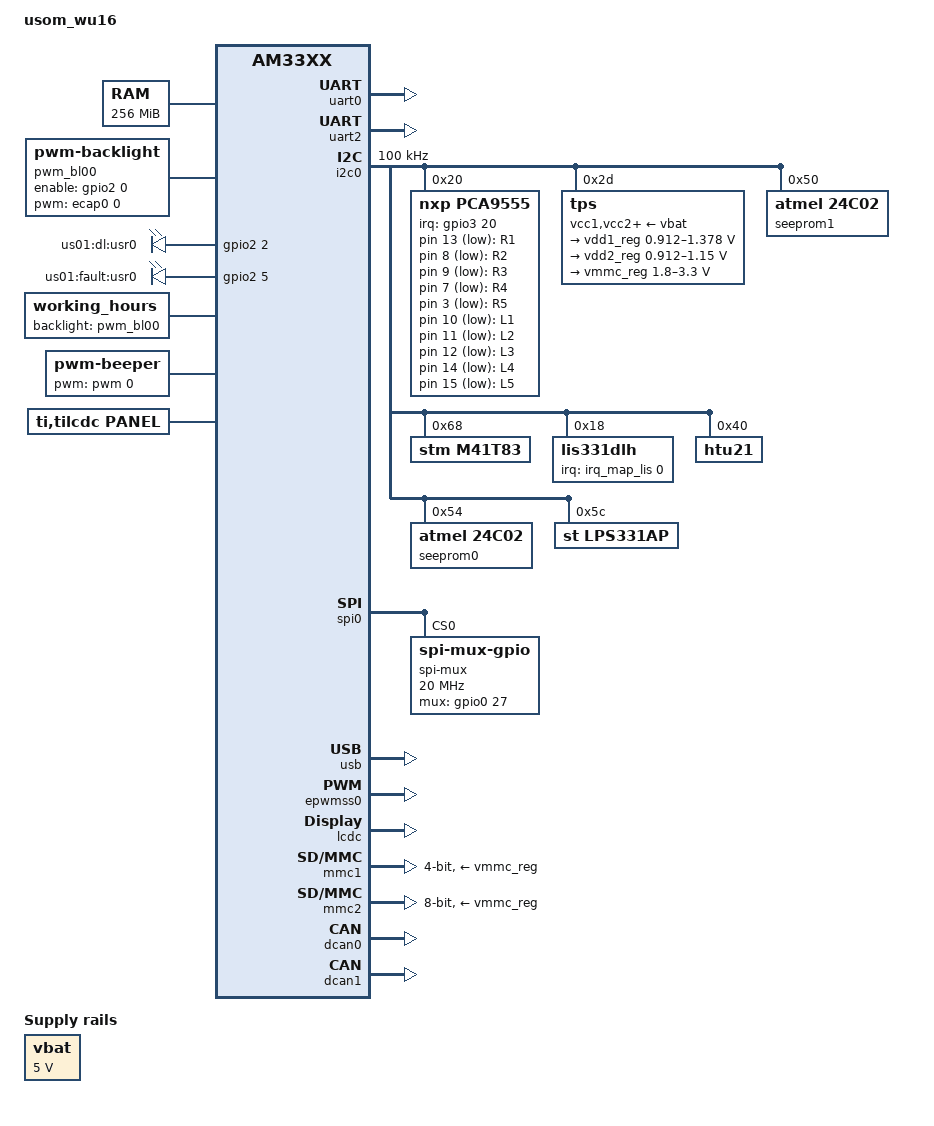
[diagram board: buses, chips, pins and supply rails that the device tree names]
/*
 * Copyright (C) 2012 Texas Instruments Incorporated - http://www.ti.com/
 *
 * This program is free software; you can redistribute it and/or modify
 * it under the terms of the GNU General Public License version 2 as
 * published by the Free Software Foundation.
 */
/dts-v1/;

#include "am33xx.dtsi"

/ {
	model = "usom_wu16";
	compatible = "ti,am335x-evm", "ti,am33xx";

	cpus {
		cpu@0 {
			cpu0-supply = <&vdd1_reg>;
		};
	};

	memory {
		device_type = "memory";
		reg = <0x80000000 0x10000000>; /* 256 MB */
	};
	
	gpio_buttons: gpio_buttons@0 {
		compatible = "gpio-keys";
		#address-cells = <1>;
		#size-cells = <0>;

		button@1 {
			label = "R1";
			linux,code = <59>; /* KEY_F1 */
			gpios = <&pca9555 13 GPIO_ACTIVE_LOW>;
		};

		button@2 {
			label = "R2";
			linux,code = <60>; /* KEY_F2 */
			gpios = <&pca9555 8 GPIO_ACTIVE_LOW>;
		};

		button@3 {
			label = "R3";
			linux,code = <61>; /* KEY_F3 */
			gpios = <&pca9555 9 GPIO_ACTIVE_LOW>;
		};

		button@4 {
			label = "R4";
			linux,code = <62>; /* KEY_F4 */
			gpios = <&pca9555 7 GPIO_ACTIVE_LOW>;
		};

		button@5 {
			label = "R5";
			linux,code = <63>; /* KEY_F5 */
			gpios = <&pca9555 3 GPIO_ACTIVE_LOW>;
		};

		button@6 {
			label = "L1";
			linux,code = <64>; /* KEY_F6 */
			gpios = <&pca9555 10 GPIO_ACTIVE_LOW>;
		};

		button@7 {
			label = "L2";
			linux,code = <65>; /* KEY_F7 */
			gpios = <&pca9555 11 GPIO_ACTIVE_LOW>;
		};

		button@8 {
			label = "L3";
			linux,code = <66>; /* KEY_F8 */
			gpios = <&pca9555 12 GPIO_ACTIVE_LOW>;
		};

		button@9 {
			label = "L4";
			linux,code = <67>; /* KEY_F9 */
			gpios = <&pca9555 14 GPIO_ACTIVE_LOW>;
		};

		button@10 {
			label = "L5";
			linux,code = <68>; /* KEY_F10 */
			gpios = <&pca9555 15 GPIO_ACTIVE_LOW>;
		};
	};
	

	am33xx_pinmux: pinmux@44e10800 {
		pinctrl-names = "default";
		pinctrl-0 = <&clkout2_pin &lcd_pins_enable &phyuart_ctrl_pins &buzzer_pins_enable &digitalout_pins_default &digitalin_pins_default>;

		i2c0_pins: pinmux_i2c0_pins {
			pinctrl-single,pins = <
				0x188 (PIN_INPUT_PULLUP | MUX_MODE0)	/* i2c0_sda.i2c0_sda */
				0x18c (PIN_INPUT_PULLUP | MUX_MODE0)	/* i2c0_scl.i2c0_scl */
			>;
		};

		spi0_pins: pinmux_spi0_pins {
			pinctrl-single,pins = <
				0x150 (PIN_INPUT_PULLUP | MUX_MODE0)    /* spi0_clk.spi0_clk */
				0x154 (PIN_INPUT_PULLUP | MUX_MODE0)    /* spi0_d0.spi0_d0 */
				0x158 (PIN_INPUT_PULLUP | MUX_MODE0)    /* spi0_d1.spi0_d1 */
				0x15c (PIN_INPUT_PULLUP | MUX_MODE0)    /* spi0_cs0.spi0_cs0 */
				0x160 (PIN_INPUT_PULLUP | MUX_MODE0)    /* spi0_cs1.spi0_cs1 */
				0x02C (PIN_OUTPUT_PULLUP | MUX_MODE7)   /* gpmc_ad11, SEL_CS_SP1 gpio, pullup (Select FRAM) */
				0x028 (PIN_OUTPUT_PULLUP | MUX_MODE7)   /* gpmc_ad10, SEL_CS_SP2 gpio, pullup */
				0x024 (PIN_OUTPUT_PULLUP | MUX_MODE7)   /* gpmc_ad9 SEL_SER_CAN: gpio, pulldown */
			>;
		};
		
		uart0_pins: pinmux_uart0_pins {
			pinctrl-single,pins = <
				0x170 (PIN_INPUT_PULLUP | MUX_MODE0)	/* uart0_rxd.uart0_rxd */
				0x174 (PIN_OUTPUT_PULLDOWN | MUX_MODE0)	/* uart0_txd.uart0_txd */
				0x168 (PIN_INPUT | MUX_MODE0)		/* uart0_ctsn.uart0_ctsn */
				0x16C (PIN_OUTPUT_PULLDOWN | MUX_MODE0)	/* uart0_rtsn.uart0_rtsn */
			>;
		};

		uart2_pins: pinmux_uart2_pins {
			pinctrl-single,pins = <
				0x12C (PIN_INPUT_PULLUP | MUX_MODE1)		/* uart2_rxd */
				0x130 (PIN_OUTPUT_PULLDOWN | MUX_MODE1)		/* uart2_txd */
			>;
		};

		clkout2_pin: pinmux_clkout2_pin {
			pinctrl-single,pins = <
				0x1b4 (PIN_OUTPUT_PULLDOWN | MUX_MODE3)	/* xdma_event_intr1.clkout2 */
			>;
		};

		ecap0_pins_default: backlight_pins {
			pinctrl-single,pins = <
				0x164 0x0	/* eCAP0_in_PWM0_out.eCAP0_in_PWM0_out MODE0 */
			>;
		};

		ecap0_pins_sleep: ecap0_pins_sleep {
			pinctrl-single,pins = <
				0x164  (PULL_DISABLE | MUX_MODE7)	/* eCAP0_in_PWM0_out.eCAP0_in_PWM0_out */
			>;
		};

		cpsw_default: cpsw_default {
			pinctrl-single,pins = <
				/* Slave 2 */
				0x070 ( PIN_INPUT_PULLDOWN | MUX_MODE3 )  /* (T17) gpmc_wait0.rmii2_crs_dv */
				0x074 ( PIN_INPUT_PULLDOWN | MUX_MODE3 )  /* (U17) gpmc_wpn.rmii2_rxer     */
				0x040 ( PIN_OUTPUT_PULLDOWN | MUX_MODE3 ) /* (R13) gpmc_a0.rmii2_txen      */
				0x054 ( PIN_OUTPUT_PULLDOWN | MUX_MODE3 ) /* (V15) gpmc_a5.rmii2_txd0      */
				0x050 ( PIN_OUTPUT_PULLDOWN | MUX_MODE3 ) /* (R14) gpmc_a4.rmii2_txd1      */
				0x06c ( PIN_INPUT_PULLDOWN | MUX_MODE3 )  /* (V17) gpmc_a11.rmii2_rxd0     */
				0x068 ( PIN_INPUT_PULLDOWN | MUX_MODE3 )  /* (T16) gpmc_a10.rmii2_rxd1     */
				0x108 ( PIN_INPUT_PULLDOWN | MUX_MODE1 )  /* (H16) gmii1_col.rmii2_refclk  */
			>;
		};

		davinci_mdio_default: davinci_mdio_default {
			pinctrl-single,pins = <
				/* MDIO */
				0x148 (PIN_INPUT_PULLUP | SLEWCTRL_FAST | MUX_MODE0)	/* mdio_data.mdio_data */
				0x14c (PIN_OUTPUT_PULLUP | MUX_MODE0)			/* mdio_clk.mdio_clk */
			>;
		};

		davinci_mdio_sleep: davinci_mdio_sleep {
			pinctrl-single,pins = <
				/* MDIO reset value */
				0x148 (PIN_INPUT_PULLDOWN | MUX_MODE7)
				0x14c (PIN_INPUT_PULLDOWN | MUX_MODE7)
			>;
		};

		mmc1_pins_default: pinmux_mmc1_pins {
			pinctrl-single,pins = <
				0x0F0 (PIN_INPUT_PULLUP | MUX_MODE0)	/* mmc0_dat3.mmc0_dat3 */
				0x0F4 (PIN_INPUT_PULLUP | MUX_MODE0)	/* mmc0_dat2.mmc0_dat2 */
				0x0F8 (PIN_INPUT_PULLUP | MUX_MODE0)	/* mmc0_dat1.mmc0_dat1 */
				0x0FC (PIN_INPUT_PULLUP | MUX_MODE0)	/* mmc0_dat0.mmc0_dat0 */
				0x100 (PIN_INPUT_PULLUP | MUX_MODE0)	/* mmc0_clk.mmc0_clk */
				0x104 (PIN_INPUT_PULLUP | MUX_MODE0)	/* mmc0_cmd.mmc0_cmd */
			>;
		};

		mmc1_pins_sleep: pinmux_mmc1_pins_sleep {
			pinctrl-single,pins = <
				0x0F0 (PIN_INPUT_PULLDOWN | MUX_MODE7)
				0x0F4 (PIN_INPUT_PULLDOWN | MUX_MODE7)
				0x0F8 (PIN_INPUT_PULLDOWN | MUX_MODE7)
				0x0FC (PIN_INPUT_PULLDOWN | MUX_MODE7)
				0x100 (PIN_INPUT_PULLDOWN | MUX_MODE7)
				0x104 (PIN_INPUT_PULLDOWN | MUX_MODE7)
			>;
		};

		emmc_pins: pinmux_emmc_pins {
		  pinctrl-single,pins = <
		  0x80 (PIN_INPUT_PULLUP | MUX_MODE2) /* gpmc_csn1.mmc1_clk */
		  0x84 (PIN_INPUT_PULLUP | MUX_MODE2) /* gpmc_csn2.mmc1_cmd */
		  0x00 (PIN_INPUT_PULLUP | MUX_MODE1) /* gpmc_ad0.mmc1_dat0 */
		  0x04 (PIN_INPUT_PULLUP | MUX_MODE1) /* gpmc_ad1.mmc1_dat1 */
		  0x08 (PIN_INPUT_PULLUP | MUX_MODE1) /* gpmc_ad2.mmc1_dat2 */
		  0x0c (PIN_INPUT_PULLUP | MUX_MODE1) /* gpmc_ad3.mmc1_dat3 */
		  0x30 (PIN_INPUT_PULLUP | MUX_MODE2)	/* gpmc_ad12.mmc1_dat4 */
		  0x34 (PIN_INPUT_PULLUP | MUX_MODE2)	/* gpmc_ad13.mmc1_dat5 */
		  0x38 (PIN_INPUT_PULLUP | MUX_MODE2)	/* gpmc_ad14.mmc1_dat6 */
		  0x3C (PIN_INPUT_PULLUP | MUX_MODE2)	/* gpmc_ad15.mmc1_dat7 */
		  >;
		};

		lcd_pins_enable: pinmux_lcd_pins_enable {
		  	pinctrl-single,pins = <
		  		0x7c 0x07	/* gpmc_csn0: EN_VDD / gpio1_29 OUTPUT | MODE7 */
		  		0x88 0x07	/* gpmc_csn3: EN_BL / gpio2_0 OUTPUT | MODE7 */
		  	>;
		};

		irqgpio_pins_default: irqgpio_pins_default {
			pinctrl-single,pins = <
				0x1a4 ( PIN_INPUT | MUX_MODE7 ) /* (C13) mcasp0_fsr.gpio3[19] */
				0x1a8 ( PIN_INPUT | MUX_MODE7 ) /* (D13) mcasp0_axr1.gpio3[20] */
			>;
		};

		digitalout_pins_default: digitalout_pins_default {
			pinctrl-single,pins = <
				0x048 ( PIN_OUTPUT | MUX_MODE7 ) /* (U14) gpmc_a2.gpio1[18]      EN34  */
				0x04c ( PIN_INPUT | MUX_MODE7  ) /* (T14) gpmc_a3.gpio1[19]      FLT34 */
				0x08c ( PIN_INPUT | MUX_MODE7  ) /* (V12) gpmc_clk.gpio2[1]      FLT12 */
				0x134 ( PIN_OUTPUT | MUX_MODE7 ) /* (L17) gmii1_rxd3.gpio2[18]   OUT1  */
				0x138 ( PIN_OUTPUT | MUX_MODE7 ) /* (L16) gmii1_rxd2.gpio2[19]   OUT2  */
				0x13c ( PIN_OUTPUT | MUX_MODE7 ) /* (L15) gmii1_rxd1.gpio2[20]   OUT3  */
				0x140 ( PIN_OUTPUT | MUX_MODE7 ) /* (M16) gmii1_rxd0.gpio2[21]   OUT4  */
				0x190 ( PIN_OUTPUT | MUX_MODE7 ) /* (A13) mcasp0_aclkx.gpio3[14] EN12  */
			>;
		};

		digitalin_pins_default: digitalin_pins_default {
			pinctrl-single,pins = <
				0x194 ( PIN_INPUT | MUX_MODE7 ) /* (B13) mcasp0_fsx.gpio3[15] */
				0x198 ( PIN_INPUT | MUX_MODE7 ) /* (D12) mcasp0_axr0.gpio3[16] */
				0x19c ( PIN_INPUT | MUX_MODE7 ) /* (C12) mcasp0_ahclkr.gpio3[17] */
				0x1ac ( PIN_INPUT | MUX_MODE7 ) /* (A14) mcasp0_ahclkx.gpio3[21] */
			>;
		};

		phyuart_ctrl_pins: pinmux_phyuart_ctrl_pins {
			pinctrl-single,pins = <
				0x1c 0x2f	/* gpmc_ad7: mode_rs485/rs232* / gpio1_7 IN/OUT | MODE7 */
				0x18 0x2f	/* gpmc_ad6: dxen              / gpio1_6 IN/OUT | MODE7 */
				0x14 0x2f	/* gpmc_ad5: rxen              / gpio1_5 IN/OUT | MODE7 */
			>;
		};

		buzzer_pins_enable: pinmux_buzzer_pins_enable {
			pinctrl-single,pins = <
				0x98 0x02	/* gpmc_wen: BUZZER / timer6 OUTPUT | MODE2 */
			>;
		};

		dcan0_pins_default: dcan0_pins_default {
			pinctrl-single,pins = <
				0x120 ( PIN_INPUT | MUX_MODE1 )   /* (K15) gmii1_txd2.dcan0_rx */
				0x11c ( PIN_OUTPUT | MUX_MODE1 )  /* (J18) gmii1_txd3.dcan0_tx */
			>;
		};

		dcan1_pins_default: dcan1_pins_default {
			pinctrl-single,pins = <
				0x184 ( PIN_INPUT | MUX_MODE2 ) /* (D15) uart1_txd.dcan1_rx */
				0x180 ( PIN_OUTPUT | MUX_MODE2 ) /* (D16) uart1_rxd.dcan1_tx */
			>;
		};

		user_leds_default: user_leds_default {
			pinctrl-single,pins = <
				0x94 (PIN_OUTPUT_PULLDOWN | MUX_MODE7)	/* gpio2_5 */
				0x88 (PIN_OUTPUT_PULLDOWN | MUX_MODE7)	/* gpio2_2 */
			>;
		};

		user_leds_sleep: user_leds_sleep {
			pinctrl-single,pins = <
				0x94 (PIN_OUTPUT_PULLDOWN | MUX_MODE7)	/* gpio2_5 */
				0x88 (PIN_OUTPUT_PULLDOWN | MUX_MODE7)	/* gpio2_2 */
			>;
		};
		
		lcd_pins_default: lcd_pins_default {
			pinctrl-single,pins = <
				0xa0 0x00	/* lcd_data0.lcd_data0, OUTPUT | MODE0 */
				0xa4 0x00	/* lcd_data1.lcd_data1, OUTPUT | MODE0 */
				0xa8 0x00	/* lcd_data2.lcd_data2, OUTPUT | MODE0 */
				0xac 0x00	/* lcd_data3.lcd_data3, OUTPUT | MODE0 */
				0xb0 0x00	/* lcd_data4.lcd_data4, OUTPUT | MODE0 */
				0xb4 0x00	/* lcd_data5.lcd_data5, OUTPUT | MODE0 */
				0xb8 0x00	/* lcd_data6.lcd_data6, OUTPUT | MODE0 */
				0xbc 0x00	/* lcd_data7.lcd_data7, OUTPUT | MODE0 */
				0xc0 0x00	/* lcd_data8.lcd_data8, OUTPUT | MODE0 */
				0xc4 0x00	/* lcd_data9.lcd_data9, OUTPUT | MODE0 */
				0xc8 0x00	/* lcd_data10.lcd_data10, OUTPUT | MODE0 */
				0xcc 0x00	/* lcd_data11.lcd_data11, OUTPUT | MODE0 */
				0xd0 0x00	/* lcd_data12.lcd_data12, OUTPUT | MODE0 */
				0xd4 0x00	/* lcd_data13.lcd_data13, OUTPUT | MODE0 */
				0xd8 0x00	/* lcd_data14.lcd_data14, OUTPUT | MODE0 */
				0xdc 0x00	/* lcd_data15.lcd_data15, OUTPUT | MODE0 */
				0xe0 0x00	/* lcd_vsync.lcd_vsync, OUTPUT | MODE0 */
				0xe4 0x00	/* lcd_hsync.lcd_hsync, OUTPUT | MODE0 */
				0xe8 0x00	/* lcd_pclk.lcd_pclk, OUTPUT | MODE0 */
				0xec 0x00	/* lcd_ac_bias_en.lcd_ac_bias_en, OUTPUT | MODE0 */
				>;
		};

		lcd_pins_sleep: lcd_pins_sleep {
			pinctrl-single,pins = <
				0xa0 (PULL_DISABLE | MUX_MODE7)		/* lcd_data0.lcd_data0 */
				0xa4 (PULL_DISABLE | MUX_MODE7)		/* lcd_data1.lcd_data1 */
				0xa8 (PULL_DISABLE | MUX_MODE7)		/* lcd_data2.lcd_data2 */
				0xac (PULL_DISABLE | MUX_MODE7)		/* lcd_data3.lcd_data3 */
				0xb0 (PULL_DISABLE | MUX_MODE7)		/* lcd_data4.lcd_data4 */
				0xb4 (PULL_DISABLE | MUX_MODE7)		/* lcd_data5.lcd_data5 */
				0xb8 (PULL_DISABLE | MUX_MODE7)		/* lcd_data6.lcd_data6 */
				0xbc (PULL_DISABLE | MUX_MODE7)		/* lcd_data7.lcd_data7 */
				0xc0 (PULL_DISABLE | MUX_MODE7)		/* lcd_data8.lcd_data8 */
				0xc4 (PULL_DISABLE | MUX_MODE7)		/* lcd_data9.lcd_data9 */
				0xc8 (PULL_DISABLE | MUX_MODE7)		/* lcd_data10.lcd_data10 */
				0xcc (PULL_DISABLE | MUX_MODE7)		/* lcd_data11.lcd_data11 */
				0xd0 (PULL_DISABLE | MUX_MODE7)		/* lcd_data12.lcd_data12 */
				0xd4 (PULL_DISABLE | MUX_MODE7)		/* lcd_data13.lcd_data13 */
				0xd8 (PULL_DISABLE | MUX_MODE7)		/* lcd_data14.lcd_data14 */
				0xdc (PULL_DISABLE | MUX_MODE7)		/* lcd_data15.lcd_data15 */
				0xe0 (PIN_INPUT_PULLDOWN | MUX_MODE7)	/* lcd_vsync.lcd_vsync, OUTPUT | MODE0 */
				0xe4 (PIN_INPUT_PULLDOWN | MUX_MODE7)	/* lcd_hsync.lcd_hsync */
				0xe8 (PIN_INPUT_PULLDOWN | MUX_MODE7)	/* lcd_pclk.lcd_pclk */
				0xec (PIN_INPUT_PULLDOWN | MUX_MODE7)	/* lcd_ac_bias_en.lcd_ac_bias_en */
			>;
		};

	};

	ocp {
		uart0: serial@44e09000 {
			pinctrl-names = "default";
			pinctrl-0 = <&uart0_pins>;
			rts-gpio = <&gpio1 6 0>;
			mode-gpio = <&gpio1 7 0>;
			rxen-gpio = <&gpio1 5 0>;
			rs485-rts-active-high;
			mode-two-lines-only;
			status = "okay";
		};

		uart2: serial@48024000 {
			pinctrl-names = "default";
			pinctrl-0 = <&uart2_pins>;

			status = "okay";
		};

		i2c0: i2c@44e0b000 {
			pinctrl-names = "default";
			pinctrl-0 = <&i2c0_pins>;

			status = "okay";
			clock-frequency = <100000>;
			/* Set OPP50 (0.95V) for VDD core */
			sleep-sequence = /bits/ 8 <
				0x02 0x2d 0x25 0x1f /* Set VDD2 to 0.95V */
			>;

			/* Set OPP100 (1.10V) for VDD core */
			wake-sequence = /bits/ 8 <
				0x02 0x2d 0x25 0x2b /* Set VDD2 to 1.1V */
			>;
/* USOM I2C DEVICES */
			pca9555: pca9555@20 {
				/* I/O expander uSom */
				compatible = "nxp,pca9555";
				interrupt-parent = <&gpio3>;
				interrupts = <20 0x8>;
				gpio-controller;
				#gpio-cells = <2>;
				interrupt-controller;
				#interrupt-cells = <2>;
				reg = <0x20>;
				restart-if-fails;
			};
/*
			pca9536: gpio@41 {
				compatible = "ti,pca9536";
				reg = <0x41>;
				gpio-controller;
				#gpio-cells = <2>;
			};
*/
			tps: tps@2d {
				/* Chip alimentazioni uSom */
				reg = <0x2d>;
			};

			seeprom1:seeprom1@50 {
				/* seeprom1 uSom */
				compatible = "atmel,24c02";
				reg = <0x50>;
			};

			m41t83:m41t83@68 {
				/* RTC uSom */
				compatible = "stm,m41t83";
				reg = <0x68>;
			};
/* CARRIER I2C DEVICES */
			lis331dlh@18 {
				/* pressure sensor Carrier */
				compatible = "lis331dlh";
				reg = <0x18>;
				interrupt-parent = <&irq_map_lis>;
				interrupts = <0>;

				irq_map_lis: irq-map {
					#interrupt-cells = <1>;
					#address-cells = <0>;
					#size-cells = <0>;
					interrupt-map = <0 &gpio3 19 0>;
				};
			};
			
			htu21:htu21@40 {
				/* temp0/Humidity Carrier */
				compatible = "htu21";
				reg = <0x40>;
			};

			seeprom0:seeprom0@54 {
				/* seeprom0 Carrier */
				compatible = "atmel,24c02";
				reg = <0x54>;
			};

			lps331ap@5c {
				/* Pressure sensor LPS331AP */
				compatible = "st,lps331ap";
				reg = <0x5c>;
			};

/* END I2C DEVICES */
		};

		spi0: spi@48030000 {
			pinctrl-names = "default";
			pinctrl-0 = <&spi0_pins>;
			bus-num = <0>;
			status = "okay";

			spi-mux {
				compatible = "spi-mux-gpio";
				#address-cells = <1>;
				#size-cells = <0>;
				reg = <0>;
				spi-max-frequency = <20000000>;
				mux-gpios = <&gpio0 27 0>;

				tja1145: tja1145@0 {
				    compatible = "nxp,tja1145";
				    //compatible = "spidev";
				    reg = <0>;
				    spi-cpha;
				    spi-max-frequency = <500000>;
				};

				fram: at25@3 {
				    compatible = "atmel,at25", "st,m95256";
				    reg = <1>;
				    spi-max-frequency = <20000000>;
				    pagesize = <64>;
				    size = <65536>;
				    address-width = <16>;
				};
			};
		};
		
		usb: usb@47400000 {
			status = "okay";

			control@44e10000 {
				status = "okay";
			};

			usb-phy@47401300 {
				status = "okay";
			};

			usb-phy@47401b00 {
				status = "okay";
			};

			usb@47401000 {
				status = "okay";
				dr_mode = "host";
			};

			usb@47401800 {
				status = "okay";
				dr_mode = "host";
			};

			dma-controller@07402000  {
				status = "okay";
			};
		};

		elm: elm@48080000 {
			status = "okay";
		};

		epwmss0: epwmss@48300000 {
			status = "okay";

			ecap0: ecap@48300100 {
				status = "okay";
				pinctrl-names = "default", "sleep";
				pinctrl-0 = <&ecap0_pins_default>;
				pinctrl-1 = <&ecap0_pins_sleep>;
			};
		};

		lcdc: lcdc@0x4830e000 {		
			pinctrl-names = "default", "sleep";
			pinctrl-0 = <&lcd_pins_default>;
			pinctrl-1 = <&lcd_pins_sleep>;
			status = "okay";
			display-timings {
				800x480p62 {
					clock-frequency = <30000000>;
					hactive = <800>;
					vactive = <480>;
					hfront-porch = <39>;
					hback-porch = <39>;
					hsync-len = <47>;
					vback-porch = <29>;
					vfront-porch = <13>;
					vsync-len = <2>;
					hsync-active = <1>;
					vsync-active = <1>;
				};
			};
		};
	};

	vbat: fixedregulator@0 {
		compatible = "regulator-fixed";
		regulator-name = "vbat";
		regulator-min-microvolt = <5000000>;
		regulator-max-microvolt = <5000000>;
		regulator-boot-on;
	};


	pwm_bl00: backlight {
		compatible = "pwm-backlight";
		pwms = <&ecap0 0 50000 0>;
		brightness-levels = <0 4 8 12 16 20 24 28 32 36 40 44 48 52 56 60 64 68 72 76 80 84 88 92 96 100>;
		default-brightness-level = <0>;
		enable-gpios = <&gpio2 0 0>;
	};

	leds {
		pinctrl-names = "default", "sleep";
		pinctrl-0 = <&user_leds_default>;
		pinctrl-1 = <&user_leds_sleep>;

		compatible = "gpio-leds";

		led@1 {
			label = "us01:dl:usr0";
			gpios = <&gpio2 2 GPIO_ACTIVE_HIGH>;
			default-state = "on";
		};

		led@2 {
			label = "us01:fault:usr0";
			gpios = <&gpio2 5 GPIO_ACTIVE_HIGH>;
			default-state = "off";
		};
	};
	
	pwm: omap-pwm {
	  compatible = "ti,omap-pwm";
	  ti,timers = <&timer6>;
	  #pwm-cells = <3>;
	};

	working_hours {
	  compatible = "working_hours";
	  eeprom = <&seeprom0>;
	  backlight = <&pwm_bl00>;
	  rtcnvram = <&m41t83>;
	};
/*
	csman0: csman0 {
		compatible = "exor,plxx_manager";
		sel-cs-sp1-gpio = <&pca9536 0 0>;
		enable-spi1-cs0;
		//enable-spi1-csfr
		sel-cs-sp2-gpio = <&pca9536 1 0>;
		//enable-spi2-cs0;
		enable-spi2-cs1;
		sel-ser3-can-gpio = <&pca9536 2 0>;
		//enable-serial3;
		enable-can;
		status = "okay";
	};
*/
	
	beeper {
	  compatible = "pwm-beeper";
	  pwms = <&pwm 0 50000 0>;
	};
	
	panel {
		compatible = "ti,tilcdc,panel";
		status = "okay";
		pinctrl-names = "default";
		pinctrl-0 = <&lcd_pins_default>;
		panel-info {
			ac-bias           = <255>;
			ac-bias-intrpt    = <0>;
			dma-burst-sz      = <16>;
			bpp               = <16>;
			fdd               = <0x80>;
			sync-edge         = <0>;
			sync-ctrl         = <1>;
			raster-order      = <0>;
			fifo-th           = <0>;
		};

		display-timings {
			800x480p62 {
				clock-frequency = <30000000>;
				hactive = <800>;
				vactive = <480>;
				hfront-porch = <39>;
				hback-porch = <39>;
				hsync-len = <47>;
				vback-porch = <29>;
				vfront-porch = <13>;
				vsync-len = <2>;
				hsync-active = <1>;
				vsync-active = <1>;
			};
		};
	};

};

#include "tps65910.dtsi"

&tps {
	vcc1-supply = <&vbat>;
	vcc2-supply = <&vbat>;
	vcc3-supply = <&vbat>;
	vcc4-supply = <&vbat>;
	vcc5-supply = <&vbat>;
	vcc6-supply = <&vbat>;
	vcc7-supply = <&vbat>;
	vccio-supply = <&vbat>;

	regulators {
		vrtc_reg: regulator@0 {
			regulator-always-on;
		};

		vio_reg: regulator@1 {
			regulator-always-on;
		};

		vdd1_reg: regulator@2 {
			/* VDD_MPU voltage limits 0.95V - 1.325V with +/-4% tolerance */
			regulator-name = "vdd_mpu";
			regulator-min-microvolt = <912500>;
			regulator-max-microvolt = <1378000>;
			regulator-boot-on;
			regulator-always-on;
		};

		vdd2_reg: regulator@3 {
			/* VDD_CORE voltage limits 0.95V - 1.1V with +/-4% tolerance */
			regulator-name = "vdd_core";
			regulator-min-microvolt = <912500>;
			regulator-max-microvolt = <1150000>;
			regulator-boot-on;
			regulator-always-on;
		};

		vdd3_reg: regulator@4 {
			regulator-always-on;
		};

		vdig1_reg: regulator@5 {
			regulator-always-on;
		};

		vdig2_reg: regulator@6 {
			regulator-always-on;
		};

		vpll_reg: regulator@7 {
			regulator-always-on;
		};

		vdac_reg: regulator@8 {
			regulator-always-on;
		};

		vaux1_reg: regulator@9 {
			regulator-always-on;
		};

		vaux2_reg: regulator@10 {
			regulator-always-on;
		};

		vaux33_reg: regulator@11 {
			regulator-always-on;
		};

		vmmc_reg: regulator@12 {
			regulator-min-microvolt = <1800000>;
			regulator-max-microvolt = <3300000>;
			regulator-always-on;
		};
	};
};

&mac {
	slaves = <2>;
	pinctrl-names = "default";
	pinctrl-0 = <&cpsw_default>;
	dual_emac;
	only_emac1;
	
	cpsw_emac1: slave@4a100300 {
		/* Filled in by U-Boot */
		mac-address = [ 00 00 00 00 00 00 ];
	};
	
	cpsw_emac0: slave@4a100200 {
		/* Filled in by U-Boot */
		mac-address = [ 00 00 00 00 00 00 ];
	};
};

&davinci_mdio {
	pinctrl-names = "default", "sleep";
	pinctrl-0 = <&davinci_mdio_default>;
	pinctrl-1 = <&davinci_mdio_sleep>;
};

&cpsw_emac1 {
	phy_id = <&davinci_mdio>, <2>;
	phy-mode = "rmii";
};

&cpsw_emac0 {
	phy_id = <&davinci_mdio>, <1>;
	phy-mode = "rmii";
};

&phy_sel {
	rmii-clock-ext;
};

&mmc1 {
	status = "okay";
	vmmc-supply = <&vmmc_reg>;
	bus-width = <4>;
	pinctrl-names = "default", "sleep";
	pinctrl-0 = <&mmc1_pins_default>;
	pinctrl-1 = <&mmc1_pins_sleep>;
};

&mmc2 {
	vmmc-supply = <&vmmc_reg>;
	pinctrl-names = "default";
	pinctrl-0 = <&emmc_pins>;
	bus-width = <8>;
	ti,non-removable;
	status = "okay";
};

&edma {
	ti,edma-xbar-event-map = <1 12
				  2 13>;
};

&dcan0 {
	pinctrl-names = "default";
	pinctrl-0 = <&dcan0_pins_default>;
	transceiver = <&tja1145>;
	status = "okay";
};

&dcan1 {
	pinctrl-names = "default";
	pinctrl-0 = <&dcan1_pins_default>;
	stb-gpio = <&pca9555 6 0>;
	status = "okay";
};
